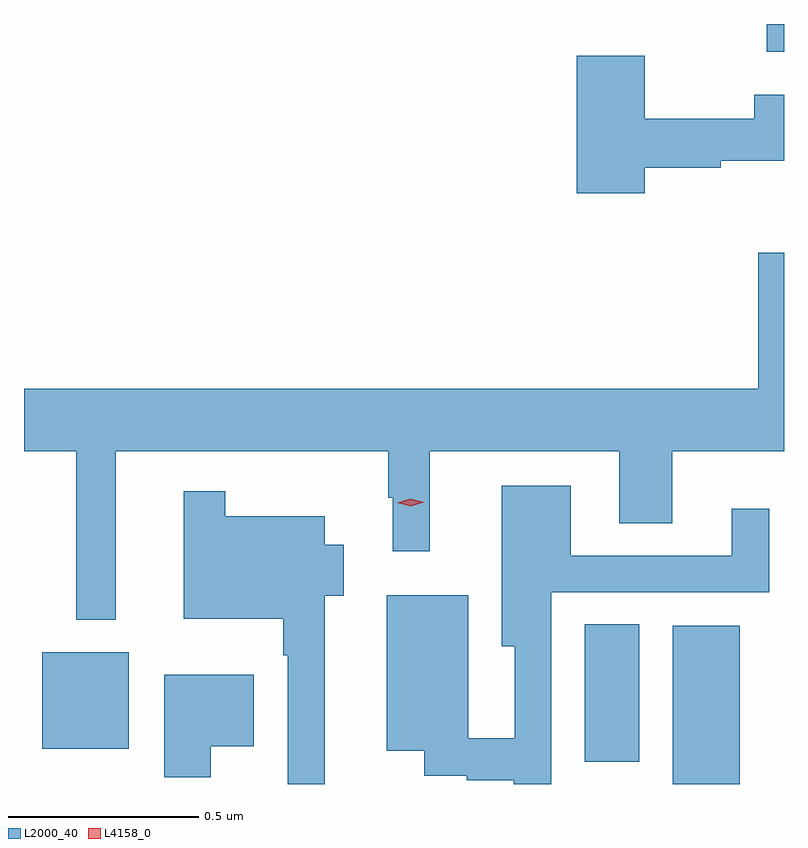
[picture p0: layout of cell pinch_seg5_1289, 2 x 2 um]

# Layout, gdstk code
import gdstk
lib = gdstk.Library(unit=1e-6, precision=1e-09)
def R(c, l, rs):  # rectangles x0, y0, x1, y1
    for r in rs: c.add(gdstk.rectangle(r[:2], r[2:], *l))
def P(c, l, *ps):  # polygons
    for p in ps: c.add(gdstk.Polygon(p, *l))
L2000_40 = (2000, 40)
L4158_0 = (4158, 0)

pinch_seg5_1289 = lib.new_cell('pinch_seg5_1289')
R(pinch_seg5_1289, L2000_40, [(374.708,897.176,374.884,897.592), (374.477,897.234,374.62,897.596), (373.049,897.269,373.276,897.523), (374.955,899.103,375.001,899.176)])
P(pinch_seg5_1289, L2000_40, [(374.634,898.798),(374.834,898.798),(374.834,898.816),(375.001,898.816),(375.001,898.99),(374.923,898.99),(374.923,898.927),(374.634,898.927),(374.634,899.092),(374.456,899.092),(374.456,898.731),(374.634,898.731)],
  [(373.243,898.052),(373.959,898.052),(373.959,897.929),(373.971,897.929),(373.971,897.789),(374.069,897.789),(374.069,898.052),(374.567,898.052),(374.567,897.862),(374.707,897.862),(374.707,898.052),(375.001,898.052),(375.001,898.574),(374.933,898.574),(374.933,898.216),(373.001,898.216),(373.001,898.052),(373.139,898.052),(373.139,897.608),(373.243,897.608)],
  [(374.388,897.681),(374.962,897.681),(374.962,897.901),(374.864,897.901),(374.864,897.777),(374.44,897.777),(374.44,897.961),(374.258,897.961),(374.258,897.539),(374.292,897.539),(374.292,897.297),(374.17,897.297),(374.17,897.673),(373.955,897.673),(373.955,897.263),(374.054,897.263),(374.054,897.198),(374.166,897.198),(374.166,897.186),(374.29,897.186),(374.29,897.176),(374.388,897.176)],
  [(373.792,897.671),(373.843,897.671),(373.843,897.805),(373.792,897.805),(373.792,897.88),(373.531,897.88),(373.531,897.946),(373.422,897.946),(373.422,897.611),(373.683,897.611),(373.683,897.515),(373.695,897.515),(373.695,897.176),(373.792,897.176)],
  [(373.492,897.275),(373.606,897.275),(373.606,897.463),(373.37,897.463),(373.37,897.194),(373.492,897.194)])
P(pinch_seg5_1289, L4158_0, [(374.019,897.907),(373.983,897.916),(373.983,897.916),(373.983,897.916),(374.018,897.927),(374.054,897.918),(374.054,897.918),(374.054,897.917)])

lib.write_gds('pinch_seg5_1289.gds')
